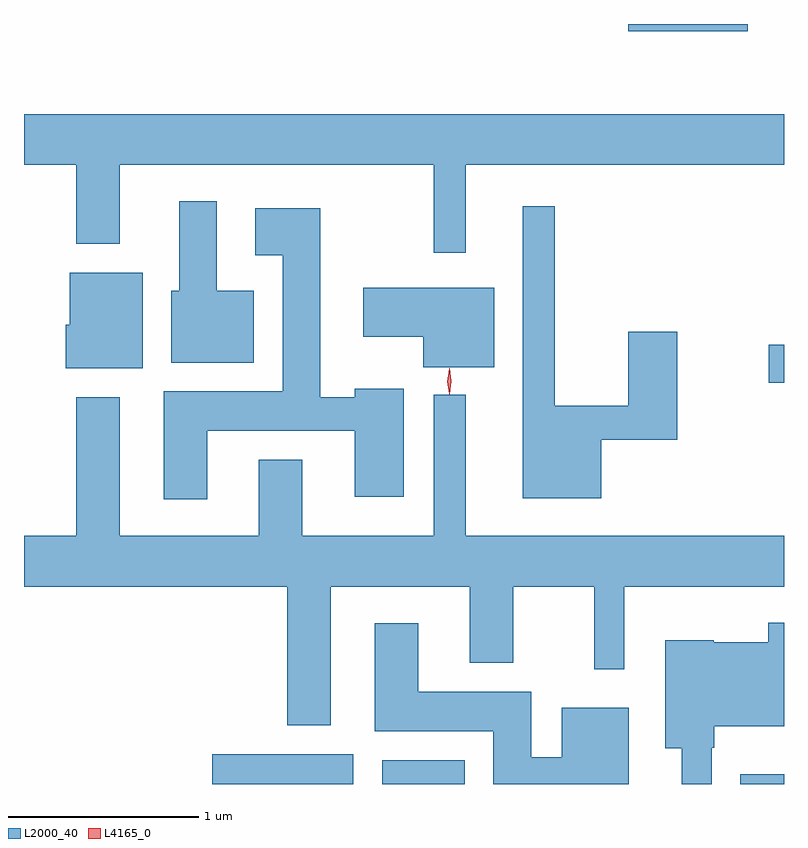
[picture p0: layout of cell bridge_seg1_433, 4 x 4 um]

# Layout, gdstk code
import gdstk
lib = gdstk.Library(unit=1e-6, precision=1e-09)
def R(c, l, rs):  # rectangles x0, y0, x1, y1
    for r in rs: c.add(gdstk.rectangle(r[:2], r[2:], *l))
def P(c, l, *ps):  # polygons
    for p in ps: c.add(gdstk.Polygon(p, *l))
L2000_40 = (2000, 40)
L4165_0 = (4165, 0)

bridge_seg1_433 = lib.new_cell('bridge_seg1_433')
R(bridge_seg1_433, L2000_40, [(207.156,856.358,207.899,856.514), (208.051,856.358,208.484,856.484), (209.936,856.358,210.165,856.409), (210.086,858.471,210.165,858.669), (209.346,860.321,209.974,860.358)])
P(bridge_seg1_433, L2000_40, [(208.489,859.616),(210.165,859.616),(210.165,859.884),(206.165,859.884),(206.165,859.616),(206.441,859.616),(206.441,859.201),(206.669,859.201),(206.669,859.616),(208.321,859.616),(208.321,859.153),(208.489,859.153)],
  [(207.374,858.954),(207.179,858.954),(207.179,859.424),(206.981,859.424),(206.981,858.954),(206.941,858.954),(206.941,858.576),(207.374,858.576)],
  [(209.204,858.171),(209.604,858.171),(209.604,858.739),(209.346,858.739),(209.346,858.349),(208.959,858.349),(208.959,859.398),(208.791,859.398),(208.791,857.861),(209.204,857.861)],
  [(207.129,858.216),(207.906,858.216),(207.906,857.871),(208.164,857.871),(208.164,858.439),(207.906,858.439),(207.906,858.394),(207.724,858.394),(207.724,859.389),(207.381,859.389),(207.381,859.141),(207.526,859.141),(207.526,858.424),(206.901,858.424),(206.901,857.856),(207.129,857.856)],
  [(206.789,859.049),(206.406,859.049),(206.406,858.774),(206.386,858.774),(206.386,858.546),(206.789,858.546)],
  [(208.639,858.969),(207.951,858.969),(207.951,858.711),(208.266,858.711),(208.266,858.551),(208.639,858.551)],
  [(207.779,857.396),(208.511,857.396),(208.511,856.996),(208.739,856.996),(208.739,857.396),(209.166,857.396),(209.166,856.963),(209.324,856.963),(209.324,857.396),(210.165,857.396),(210.165,857.664),(208.489,857.664),(208.489,858.408),(208.321,858.408),(208.321,857.664),(207.629,857.664),(207.629,858.064),(207.401,858.064),(207.401,857.664),(206.669,857.664),(206.669,858.394),(206.441,858.394),(206.441,857.664),(206.165,857.664),(206.165,857.396),(207.551,857.396),(207.551,856.666),(207.779,856.666)],
  [(209.784,856.55),(209.799,856.55),(209.799,856.661),(210.165,856.661),(210.165,857.208),(210.081,857.208),(210.081,857.104),(209.795,857.104),(209.795,857.114),(209.541,857.114),(209.541,856.546),(209.626,856.546),(209.626,856.358),(209.784,856.358)],
  [(209.349,856.759),(208.996,856.759),(208.996,856.499),(208.834,856.499),(208.834,856.844),(208.239,856.844),(208.239,857.204),(208.011,857.204),(208.011,856.636),(208.636,856.636),(208.636,856.358),(209.349,856.358)])
P(bridge_seg1_433, L4165_0, [(208.403,858.413),(208.403,858.413),(208.393,858.476),(208.402,858.54),(208.402,858.54),(208.403,858.54),(208.413,858.477),(208.404,858.413)],
  [(208.404,858.41),(208.404,858.41),(208.394,858.478),(208.404,858.546),(208.404,858.546),(208.405,858.546),(208.414,858.478),(208.405,858.41)])

lib.write_gds('bridge_seg1_433.gds')
